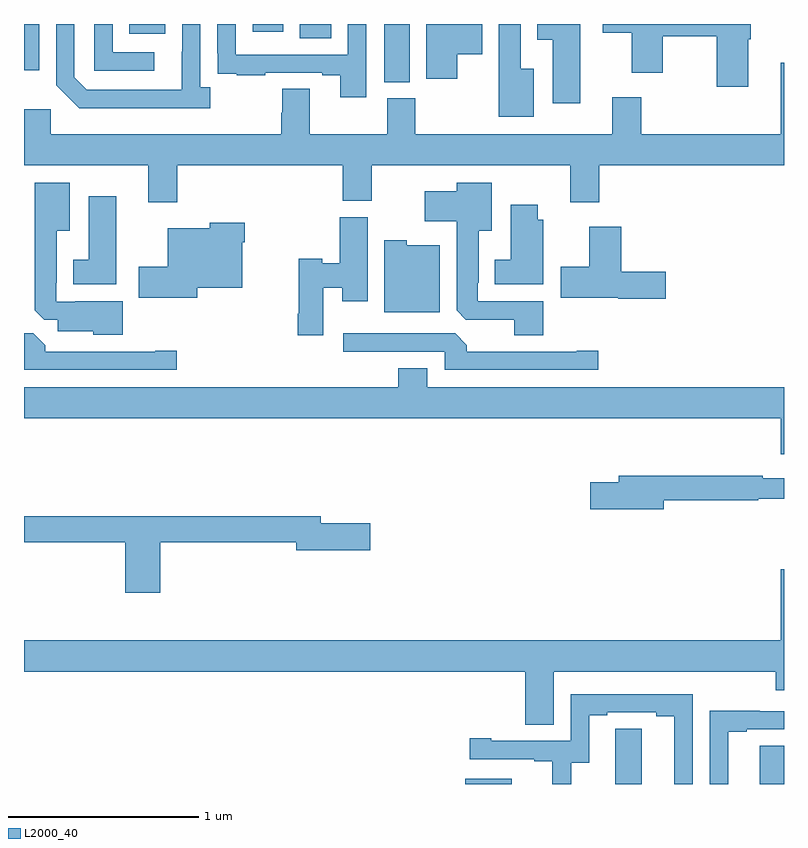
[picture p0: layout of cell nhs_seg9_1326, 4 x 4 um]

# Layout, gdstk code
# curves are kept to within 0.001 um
import gdstk
lib = gdstk.Library(unit=1e-6, precision=1e-09)
def R(c, l, rs):  # rectangles x0, y0, x1, y1
    for r in rs: c.add(gdstk.rectangle(r[:2], r[2:], *l))
def P(c, l, *ps):  # polygons
    for p in ps: c.add(gdstk.Polygon(p, *l))
L2000_40 = (2000, 40)

nhs_seg9_1326 = lib.new_cell('nhs_seg9_1326')
R(nhs_seg9_1326, L2000_40, [(187.322,1190.5,187.567,1190.527), (188.873,1190.5,189,1190.702), (186.896,1194.193,187.03,1194.5), (185,1194.257,185.08,1194.5), (186.452,1194.424,186.616,1194.5), (185.555,1194.449,185.743,1194.5), (186.203,1194.459,186.364,1194.5)])
P(nhs_seg9_1326, L2000_40, [(185.98,1194.166),(185.928,1194.166),(185.928,1194.5),(185.832,1194.5),(185.831,1194.153),(185.331,1194.153),(185.265,1194.219),(185.265,1194.5),(185.169,1194.5),(185.169,1194.177),(185.29,1194.056),(185.98,1194.056)],
  [(188.812,1194.419),(188.825,1194.419),(188.825,1194.5),(188.046,1194.5),(188.046,1194.454),(188.198,1194.454),(188.198,1194.243),(188.361,1194.243),(188.361,1194.436),(188.647,1194.436),(188.647,1194.171),(188.812,1194.171)],
  [(187.279,1194.341),(187.411,1194.341),(187.411,1194.5),(187.118,1194.5),(187.118,1194.213),(187.279,1194.213)],
  [(187.927,1194.5),(187.7,1194.5),(187.7,1194.416),(187.784,1194.416),(187.784,1194.084),(187.927,1194.084)],
  [(187.684,1194.265),(187.615,1194.265),(187.615,1194.5),(187.499,1194.5),(187.499,1194.011),(187.684,1194.011)],
  [(186.801,1194.5),(186.705,1194.5),(186.705,1194.339),(186.114,1194.339),(186.114,1194.5),(186.018,1194.5),(186.018,1194.346),(186.019,1194.346),(186.019,1194.237),(186.121,1194.237),(186.121,1194.231),(186.269,1194.231),(186.269,1194.243),(186.569,1194.243),(186.569,1194.231),(186.665,1194.231),(186.665,1194.114),(186.801,1194.114)],
  [(185.686,1194.351),(185.466,1194.351),(185.466,1194.5),(185.37,1194.5),(185.37,1194.255),(185.686,1194.255)],
  [(189,1194.295),(188.984,1194.295),(188.984,1193.92),(188.249,1193.92),(188.249,1194.115),(188.096,1194.115),(188.096,1193.92),(187.059,1193.92),(187.059,1194.108),(186.911,1194.108),(186.911,1193.92),(186.505,1193.92),(186.505,1194.158),(186.358,1194.158),(186.358,1194.033),(186.353,1194.033),(186.353,1193.92),(185.142,1193.92),(185.142,1194.052),(185,1194.052),(185,1193.756),(185.654,1193.756),(185.654,1193.562),(185.807,1193.562),(185.807,1193.756),(186.677,1193.756),(186.677,1193.569),(186.829,1193.569),(186.829,1193.756),(187.874,1193.756),(187.874,1193.562),(188.027,1193.562),(188.027,1193.756),(189,1193.756)],
  [(185.521,1193.041),(185.269,1193.041),(185.269,1193.037),(185.169,1193.037),(185.169,1193.137),(185.173,1193.137),(185.173,1193.411),(185.242,1193.411),(185.242,1193.665),(185.057,1193.665),(185.057,1192.993),(185.106,1192.944),(185.177,1192.944),(185.177,1192.883),(185.364,1192.883),(185.364,1192.865),(185.521,1192.865)],
  [(187.733,1193.04),(187.389,1193.04),(187.389,1193.137),(187.393,1193.137),(187.393,1193.411),(187.462,1193.411),(187.462,1193.665),(187.277,1193.665),(187.277,1193.62),(187.11,1193.62),(187.11,1193.462),(187.277,1193.462),(187.277,1192.993),(187.326,1192.944),(187.58,1192.944),(187.58,1192.861),(187.733,1192.861)],
  [(185.485,1193.593),(185.342,1193.593),(185.342,1193.26),(185.258,1193.26),(185.258,1193.129),(185.485,1193.129)],
  [(187.732,1193.469),(187.705,1193.469),(187.705,1193.548),(187.562,1193.548),(187.562,1193.26),(187.478,1193.26),(187.478,1193.129),(187.732,1193.129)],
  [(186.574,1193.111),(186.674,1193.111),(186.674,1193.04),(186.808,1193.04),(186.808,1193.484),(186.662,1193.484),(186.662,1193.241),(186.57,1193.241),(186.57,1193.264),(186.445,1193.264),(186.445,1192.975),(186.44,1192.975),(186.44,1192.863),(186.574,1192.863)],
  [(185.911,1193.111),(186.148,1193.111),(186.148,1193.351),(186.161,1193.351),(186.161,1193.455),(185.978,1193.455),(185.978,1193.425),(185.756,1193.425),(185.756,1193.223),(185.604,1193.223),(185.604,1193.06),(185.911,1193.06)],
  [(188.377,1193.195),(188.144,1193.195),(188.144,1193.434),(187.976,1193.434),(187.976,1193.223),(187.824,1193.223),(187.824,1193.06),(188.127,1193.06),(188.127,1193.053),(188.377,1193.053)],
  [(187.189,1193.335),(187.014,1193.335),(187.014,1193.362),(186.896,1193.362),(186.896,1192.982),(187.189,1192.982)],
  [(188.023,1192.781),(187.91,1192.781),(187.91,1192.776),(187.331,1192.776),(187.331,1192.81),(187.269,1192.872),(186.681,1192.872),(186.681,1192.776),(187.215,1192.776),(187.215,1192.68),(188.023,1192.68)],
  [(185.803,1192.781),(185.69,1192.781),(185.69,1192.776),(185.111,1192.776),(185.111,1192.81),(185.049,1192.872),(185,1192.872),(185,1192.68),(185.803,1192.68)],
  [(189,1192.588),(187.123,1192.588),(187.123,1192.687),(186.971,1192.687),(186.971,1192.588),(185,1192.588),(185,1192.424),(188.984,1192.424),(188.984,1192.236),(189,1192.236)],
  [(188.368,1191.994),(188.864,1191.994),(188.864,1192.002),(189,1192.002),(189,1192.11),(188.888,1192.11),(188.888,1192.123),(188.129,1192.123),(188.129,1192.089),(187.98,1192.089),(187.98,1191.947),(188.368,1191.947)],
  [(185.717,1191.772),(186.434,1191.772),(186.434,1191.73),(186.823,1191.73),(186.823,1191.872),(186.562,1191.872),(186.562,1191.908),(185,1191.908),(185,1191.772),(185.534,1191.772),(185.534,1191.507),(185.717,1191.507)],
  [(187.789,1191.092),(188.957,1191.092),(188.957,1190.994),(189,1190.994),(189,1191.631),(188.984,1191.631),(188.984,1191.256),(185,1191.256),(185,1191.092),(187.637,1191.092),(187.637,1190.812),(187.789,1190.812)],
  [(187.881,1190.611),(187.975,1190.611),(187.975,1190.862),(188.071,1190.862),(188.071,1190.877),(188.327,1190.877),(188.327,1190.857),(188.423,1190.857),(188.423,1190.5),(188.52,1190.5),(188.52,1190.973),(187.878,1190.973),(187.878,1190.727),(187.459,1190.727),(187.459,1190.74),(187.347,1190.74),(187.347,1190.631),(187.685,1190.631),(187.685,1190.619),(187.781,1190.619),(187.781,1190.5),(187.881,1190.5)],
  [(188.707,1190.775),(188.803,1190.775),(188.803,1190.787),(189,1190.787),(189,1190.883),(188.873,1190.883),(188.873,1190.885),(188.61,1190.885),(188.61,1190.5),(188.707,1190.5)],
  [(188.251,1190.792),(188.112,1190.792),(188.112,1190.684),(188.111,1190.684),(188.111,1190.5),(188.251,1190.5)])

lib.write_gds('nhs_seg9_1326.gds')
